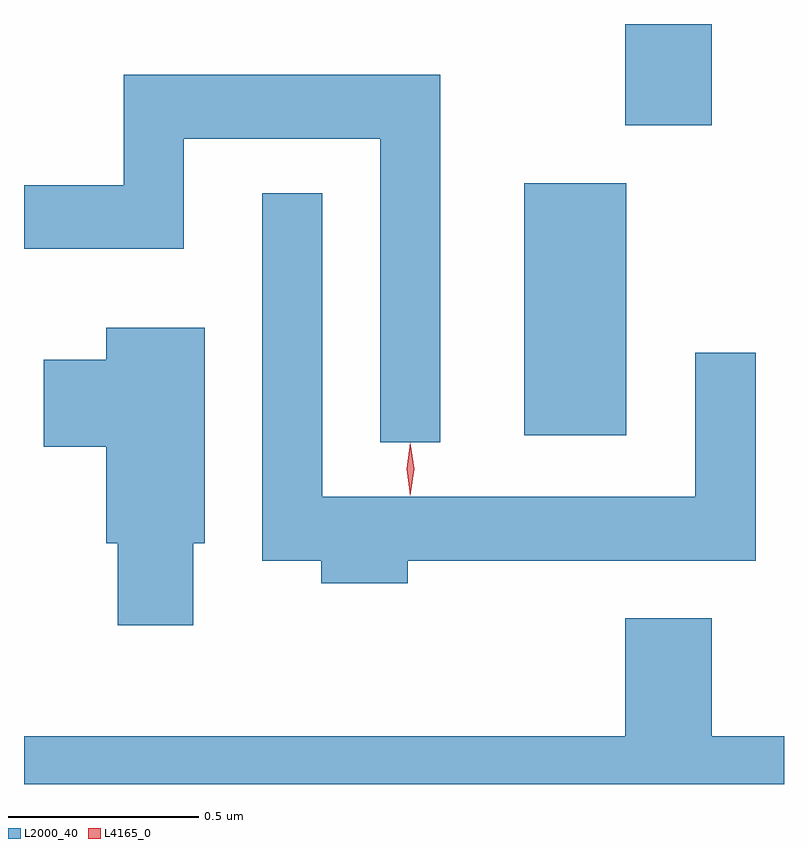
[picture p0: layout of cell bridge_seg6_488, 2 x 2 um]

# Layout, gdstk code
import gdstk
lib = gdstk.Library(unit=1e-6, precision=1e-09)
def R(c, l, rs):  # rectangles x0, y0, x1, y1
    for r in rs: c.add(gdstk.rectangle(r[:2], r[2:], *l))
def P(c, l, *ps):  # polygons
    for p in ps: c.add(gdstk.Polygon(p, *l))
L2000_40 = (2000, 40)
L4165_0 = (4165, 0)

bridge_seg6_488 = lib.new_cell('bridge_seg6_488')
R(bridge_seg6_488, L2000_40, [(706.616,1531.116,706.884,1531.779), (706.881,1531.931,707.109,1532.198)])
P(bridge_seg6_488, L2000_40, [(706.394,1532.064),(705.561,1532.064),(705.561,1531.774),(705.299,1531.774),(705.299,1531.606),(705.719,1531.606),(705.719,1531.896),(706.236,1531.896),(706.236,1531.098),(706.394,1531.098)],
  [(706.309,1530.786),(707.224,1530.786),(707.224,1531.333),(707.066,1531.333),(707.066,1530.954),(706.084,1530.954),(706.084,1531.753),(705.926,1531.753),(705.926,1530.786),(706.081,1530.786),(706.081,1530.726),(706.309,1530.726)],
  [(705.744,1530.831),(705.774,1530.831),(705.774,1531.399),(705.516,1531.399),(705.516,1531.314),(705.351,1531.314),(705.351,1531.086),(705.516,1531.086),(705.516,1530.831),(705.546,1530.831),(705.546,1530.616),(705.744,1530.616)],
  [(707.299,1530.324),(707.109,1530.324),(707.109,1530.634),(706.881,1530.634),(706.881,1530.324),(705.299,1530.324),(705.299,1530.198),(707.299,1530.198)])
P(bridge_seg6_488, L4165_0, [(706.316,1530.959),(706.316,1530.96),(706.306,1531.026),(706.315,1531.092),(706.316,1531.093),(706.316,1531.092),(706.326,1531.026),(706.316,1530.96)],
  [(706.315,1530.957),(706.306,1531.027),(706.315,1531.096),(706.316,1531.096),(706.316,1531.096),(706.326,1531.027),(706.316,1530.957),(706.316,1530.957)])

lib.write_gds('bridge_seg6_488.gds')
